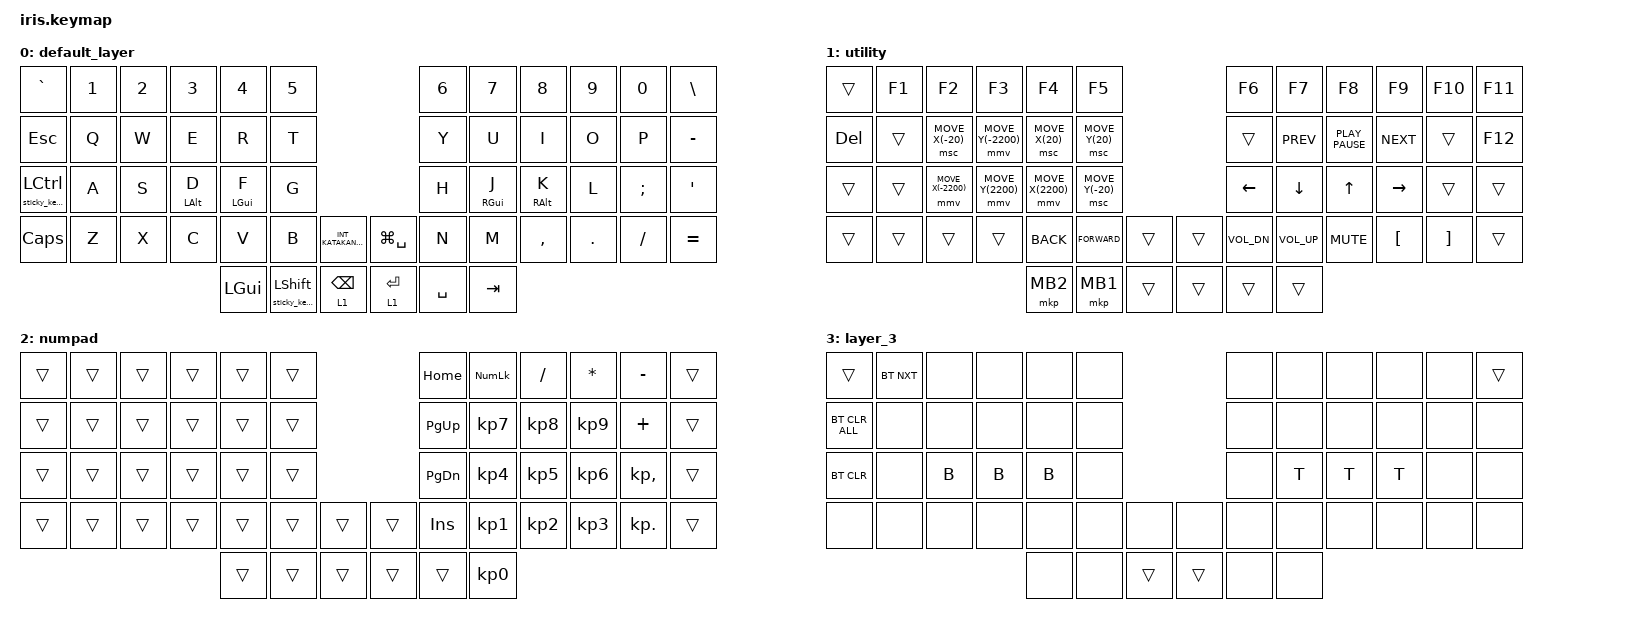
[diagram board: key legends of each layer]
/*
 * Copyright (c) 2020 The ZMK Contributors
 *
 * SPDX-License-Identifier: MIT
 */

#define ZMK_MOUSE_DEFAULT_MOVE_VAL 500  // default: 600
#define ZMK_MOUSE_DEFAULT_SCRL_VAL 10   // default: 10

#include <behaviors.dtsi>
#include <behaviors/mouse_move.dtsi>
#include <dt-bindings/zmk/bt.h>
#include <dt-bindings/zmk/keys.h>
#include <dt-bindings/zmk/mouse.h>

&mmv {
    acceleration-exponent = <2>;      // 1
    time-to-max-speed-ms = <50>;       // 40
    delay-ms = <10>;                   // 0
};

&msc {
    acceleration-exponent = <0>;      // 0
    time-to-max-speed-ms = <0>;       // 40
    delay-ms = <0>;                   // 10
};

/ {
    combos {
        compatible = "zmk,combos";

        togLyrConf {
            bindings = <&tog 3>;
            key-positions = <0 52 53 11>;
        };

        toNumpad {
            bindings = <&tog 2>;
            key-positions = <11 53>;
        };
    };

    behaviors {
        hm: hm {
            compatible = "zmk,behavior-hold-tap";
            label = "homerow_mod";
            bindings = <&kp>, <&kp>;

            #binding-cells = <2>;
            tapping-term-ms = <170>;
            flavor = "tap-preferred";
            quick-tap-ms = <0>;
        };

        sticky_key_release: sk_cust {
            compatible = "zmk,behavior-sticky-key";
            label = "STICKY_KEY_RELEASE";
            bindings = <&kp>;
            #binding-cells = <1>;
            release-after-ms = <1000>;
        };

        mmv_c: mmv_c {
            compatible = "zmk,behavior-mouse-move";
            label = "MMV_C";
            #binding-cells = <1>;
            delay-ms = <6>;
            time-to-max-speed-ms = <30>;
            acceleration-exponent = <1>;
        };
    };

    keymap {
        compatible = "zmk,keymap";

        default_layer {
            // ------------------------------------------------------------------------------------------------------------
            // |  ESC  |  1  |  2  |  3   |  4   |  5   |                   |  6   |  7    |  8    |  9   |   0   |   `   |
            // |  TAB  |  Q  |  W  |  E   |  R   |  T   |                   |  Y   |  U    |  I    |  O   |   P   |   -   |
            // |  CTRL |  A  |  S  |  D   |  F   |  G   |                   |  H   |  J    |  K    |  L   |   ;   |   '   |
            // | SHIFT |  Z  |  X  |  C   |  V   |  B   |   "["  |  |  "]"  |  N   |  M    |  ,    |  .   |   /   | SHIFT |
            //                            | GUI  | LOWER|  SPACE |  | ENTER | RAISE|  ALT  |

            bindings = <
&kp GRAVE                         &kp N1  &kp N2  &kp N3          &kp N4          &kp N5                                                                   &kp N6     &kp N7           &kp N8           &kp N9   &kp N0    &kp BACKSLASH
&kp ESC                           &kp Q   &kp W   &kp E           &kp R           &kp T                                                                    &kp Y      &kp U            &kp I            &kp O    &kp P     &kp MINUS
&sticky_key_release LEFT_CONTROL  &kp A   &kp S   &hm LEFT_ALT D  &hm LEFT_GUI F  &kp G                                                                    &kp H      &hm RIGHT_GUI J  &hm RIGHT_ALT K  &kp L    &kp SEMI  &kp SQT
&kp CAPS                          &kp Z   &kp X   &kp C           &kp V           &kp B                           &kp INT_KATAKANAHIRAGANA  &kp LG(SPACE)  &kp N      &kp M            &kp COMMA        &kp DOT  &kp FSLH  &kp EQUAL
                                                                  &kp LGUI        &sticky_key_release LEFT_SHIFT  &lt 1 BACKSPACE           &lt 1 ENTER    &kp SPACE  &kp TAB
            >;
        };

        utility {
            bindings = <
&trans   &kp F1  &kp F2              &kp F3               &kp F4             &kp F5                          &kp F6        &kp F7        &kp F8            &kp F9            &kp F10            &kp F11
&kp DEL  &trans  &msc MOVE_X(-20)    &mmv MOVE_Y(-2200)   &msc MOVE_X(20)    &msc MOVE_Y(20)                  &trans        &kp K_PREV    &kp K_PLAY_PAUSE  &kp K_NEXT        &trans             &kp F12
&trans   &trans  &mmv MOVE_X(-2200)  &mmv MOVE_Y(2200)    &mmv MOVE_X(2200)  &msc MOVE_Y(-20)                    &kp LEFT      &kp DOWN      &kp UP_ARROW      &kp RIGHT         &trans             &trans
&trans   &trans  &trans              &trans               &kp K_BACK         &kp K_FORWARD   &trans  &trans  &kp C_VOL_DN  &kp C_VOL_UP  &kp K_MUTE        &kp LEFT_BRACKET  &kp RIGHT_BRACKET  &trans
                                                          &mkp MB2           &mkp MB1        &trans  &trans  &trans        &trans
            >;
        };

        numpad {
            bindings = <
&trans  &trans  &trans  &trans  &trans  &trans                  &kp HOME       &kp KP_NUMLOCK   &kp SLASH        &kp ASTERISK     &kp MINUS     &trans
&trans  &trans  &trans  &trans  &trans  &trans                  &kp PAGE_UP    &kp KP_NUMBER_7  &kp KP_NUMBER_8  &kp KP_NUMBER_9  &kp PLUS      &trans
&trans  &trans  &trans  &trans  &trans  &trans                  &kp PAGE_DOWN  &kp KP_NUMBER_4  &kp KP_NUMBER_5  &kp KP_NUMBER_6  &kp KP_COMMA  &trans
&trans  &trans  &trans  &trans  &trans  &trans  &trans  &trans  &kp INSERT     &kp KP_NUMBER_1  &kp KP_NUMBER_2  &kp KP_NUMBER_3  &kp KP_DOT    &trans
                                &trans  &trans  &trans  &trans  &trans         &kp KP_NUMBER_0
            >;
        };

        layer_3 {
            bindings = <
&trans          &bt BT_NXT  &none  &none  &none  &none                  &none  &none  &none  &none  &none  &trans
&bt BT_CLR_ALL  &none       &none  &none  &none  &none                  &none  &none  &none  &none  &none  &none
&bt BT_CLR      &none       &kp B  &kp B  &kp B  &none                  &none  &kp T  &kp T  &kp T  &none  &none
&none           &none       &none  &none  &none  &none  &none   &none   &none  &none  &none  &none  &none  &none
                                          &none  &none  &trans  &trans  &none  &none
            >;
        };
    };
};
